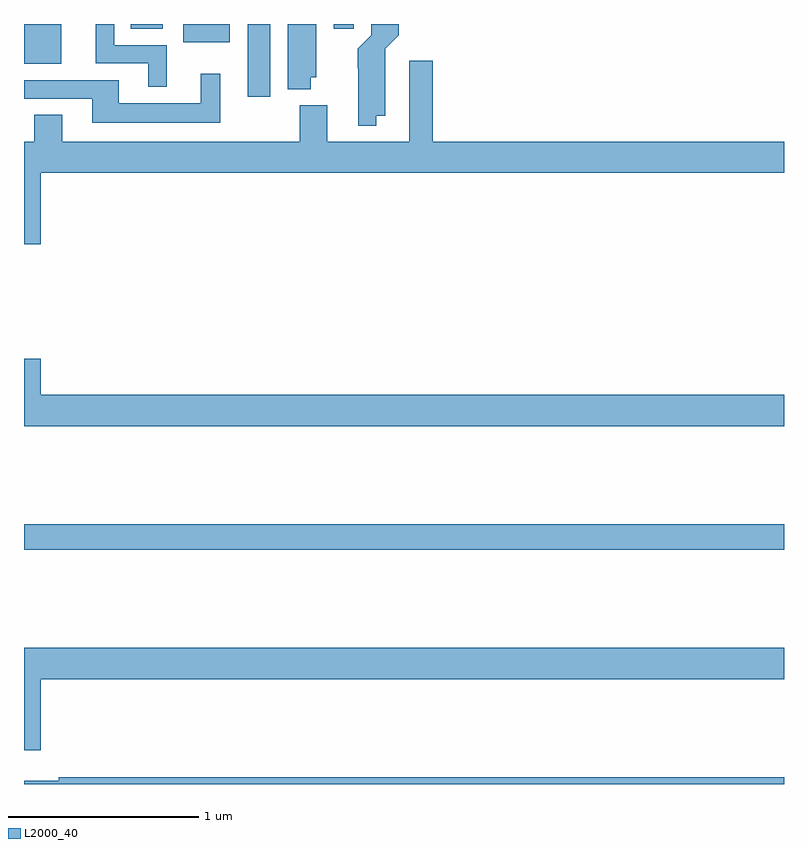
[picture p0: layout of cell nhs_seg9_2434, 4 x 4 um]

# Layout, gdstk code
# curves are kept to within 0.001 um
import gdstk
lib = gdstk.Library(unit=1e-6, precision=1e-09)
def R(c, l, rs):  # rectangles x0, y0, x1, y1
    for r in rs: c.add(gdstk.rectangle(r[:2], r[2:], *l))
def P(c, l, *ps):  # polygons
    for p in ps: c.add(gdstk.Polygon(p, *l))
L2000_40 = (2000, 40)

nhs_seg9_2434 = lib.new_cell('nhs_seg9_2434')
R(nhs_seg9_2434, L2000_40, [(249,1231.732,253,1231.868), (250.178,1234.116,250.297,1234.5), (249,1234.292,249.196,1234.5), (249.839,1234.403,250.084,1234.5), (249.563,1234.474,249.73,1234.5), (250.631,1234.476,250.735,1234.5)])
P(nhs_seg9_2434, L2000_40, [(249.751,1234.389),(249.474,1234.389),(249.474,1234.5),(249.377,1234.5),(249.377,1234.293),(249.653,1234.293),(249.653,1234.169),(249.751,1234.169)],
  [(250.855,1234.016),(250.9,1234.016),(250.901,1234.37),(250.973,1234.442),(250.973,1234.5),(250.827,1234.5),(250.827,1234.44),(250.757,1234.37),(250.758,1233.965),(250.855,1233.965)],
  [(250.51,1234.221),(250.537,1234.221),(250.537,1234.5),(250.388,1234.5),(250.388,1234.157),(250.51,1234.157)],
  [(249.088,1233.716),(253,1233.716),(253,1233.88),(251.15,1233.88),(251.15,1234.306),(251.027,1234.306),(251.027,1233.88),(250.597,1233.88),(250.597,1234.072),(250.45,1234.072),(250.45,1233.88),(249.202,1233.88),(249.202,1234.022),(249.055,1234.022),(249.055,1233.88),(249,1233.88),(249,1233.342),(249.088,1233.342)],
  [(250.033,1234.237),(249.929,1234.237),(249.929,1234.084),(249.499,1234.084),(249.499,1234.203),(249,1234.203),(249,1234.107),(249.359,1234.107),(249.359,1233.98),(250.033,1233.98)],
  [(253,1232.548),(249.088,1232.548),(249.088,1232.737),(249,1232.737),(249,1232.384),(253,1232.384)],
  [(249.088,1231.052),(253,1231.052),(253,1231.216),(249,1231.216),(249,1230.678),(249.088,1230.678)],
  [(253,1230.536),(249.184,1230.536),(249.184,1230.517),(249,1230.517),(249,1230.5),(253,1230.5)])

lib.write_gds('nhs_seg9_2434.gds')
